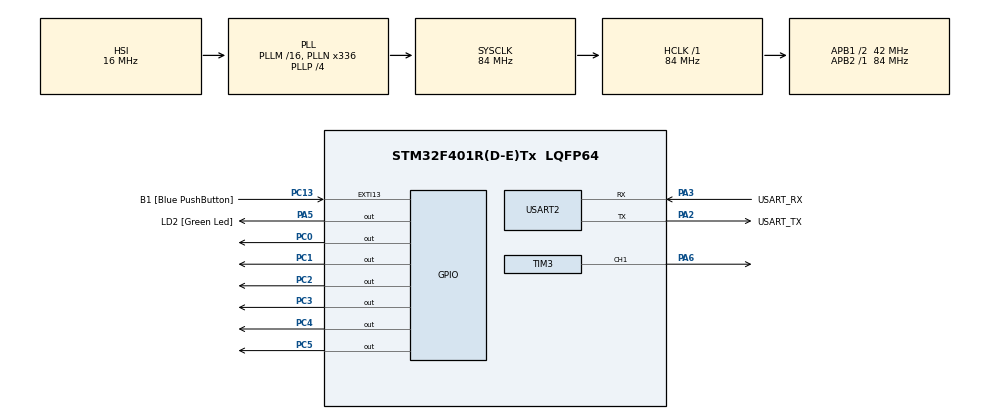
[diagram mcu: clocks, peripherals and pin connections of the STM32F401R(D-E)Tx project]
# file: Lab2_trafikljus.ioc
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Mcu.Family=STM32F4
Mcu.Name=STM32F401R(D-E)Tx
Mcu.Package=LQFP64
NVIC.EXTI15_10_IRQn=true\:0\:0\:false\:false\:true\:true\:true\:true
NVIC.PriorityGroup=NVIC_PRIORITYGROUP_0
PA13.GPIO_Label=TMS
PA13.Mode=Serial_Wire
PA13.Signal=SYS_JTMS-SWDIO
PA14.GPIO_Label=TCK
PA14.Mode=Serial_Wire
PA14.Signal=SYS_JTCK-SWCLK
PA2.GPIO_Label=USART_TX
PA2.GPIO_Mode=GPIO_MODE_AF_PP
PA2.GPIO_PuPd=GPIO_NOPULL
PA2.GPIO_Speed=GPIO_SPEED_FREQ_LOW
PA2.Mode=Asynchronous
PA2.Signal=USART2_TX
PA3.GPIO_Label=USART_RX
PA3.GPIO_Mode=GPIO_MODE_AF_PP
PA3.GPIO_PuPd=GPIO_NOPULL
PA3.GPIO_Speed=GPIO_SPEED_FREQ_LOW
PA3.Mode=Asynchronous
PA3.Signal=USART2_RX
PA5.GPIO_Label=LD2 [Green Led]
PA5.GPIO_Mode=GPIO_MODE_OUTPUT_PP
PA5.GPIO_PuPd=GPIO_NOPULL
PA5.GPIO_Speed=GPIO_SPEED_FREQ_LOW
PA5.Signal=GPIO_Output
PA6.Signal=S_TIM3_CH1
PB3.GPIO_Label=SWO
PB3.Signal=SYS_JTDO-SWO
PC0.Signal=GPIO_Output
PC1.Signal=GPIO_Output
PC13-ANTI_TAMP.GPIO_Label=B1 [Blue PushButton]
PC13-ANTI_TAMP.GPIO_ModeDefaultEXTI=GPIO_MODE_IT_FALLING
PC13-ANTI_TAMP.GPIO_PuPd=GPIO_NOPULL
PC13-ANTI_TAMP.Signal=GPXTI13
PC14-OSC32_IN.Mode=LSE-External-Oscillator
PC14-OSC32_IN.Signal=RCC_OSC32_IN
PC15-OSC32_OUT.Mode=LSE-External-Oscillator
PC15-OSC32_OUT.Signal=RCC_OSC32_OUT
PC2.Signal=GPIO_Output
PC3.Signal=GPIO_Output
PC4.Signal=GPIO_Output
PC5.Signal=GPIO_Output
PH0\ -\ OSC_IN.Mode=HSE-External-Clock-Source
PH0\ -\ OSC_IN.Signal=RCC_OSC_IN
PH1\ -\ OSC_OUT.Mode=HSE-External-Clock-Source
PH1\ -\ OSC_OUT.Signal=RCC_OSC_OUT
ProjectManager.HeapSize=0x200
ProjectManager.StackSize=0x400
ProjectManager.TargetToolchain=STM32CubeIDE
RCC.48MHZClocksFreq_Value=48000000
RCC.AHBFreq_Value=84000000
RCC.APB1CLKDivider=RCC_HCLK_DIV2
RCC.APB1Freq_Value=42000000
RCC.APB1TimFreq_Value=84000000
RCC.APB2Freq_Value=84000000
RCC.APB2TimFreq_Value=84000000
RCC.CortexFreq_Value=84000000
RCC.HCLKFreq_Value=84000000
RCC.HSE_VALUE=8000000
RCC.HSI_VALUE=16000000
RCC.PLLN=336
RCC.PLLP=RCC_PLLP_DIV4
RCC.PLLQ=7
RCC.SYSCLKFreq_VALUE=84000000
RCC.SYSCLKSource=RCC_SYSCLKSOURCE_PLLCLK
RCC.VCOOutputFreq_Value=336000000
SH.S_TIM3_CH1.0=TIM3_CH1,PWM Generation1 CH1
TIM3.Channel-PWM\ Generation1\ CH1=TIM_CHANNEL_1
USART2.VirtualMode=VM_ASYNC
VP_TIM3_VS_ClockSourceINT.Mode=Internal
board=NUCLEO-F401RE

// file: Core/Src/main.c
/* USER CODE BEGIN Header */
/**
  ******************************************************************************
  * @file           : main.c
  * @brief          : Main program body
  ******************************************************************************
  * @attention
  *
  * Copyright (c) 2024 STMicroelectronics.
  * All rights reserved.
  *
  * This software is licensed under terms that can be found in the LICENSE file
  * in the root directory of this software component.
  * If no LICENSE file comes with this software, it is provided AS-IS.
  *
  ******************************************************************************
  */
/* USER CODE END Header */
#include "main.h"

/* USER CODE BEGIN PTD */

void my_systick_handler(void);

enum state {
    s_init,                // Initial state
    s_car_go,              // Cars go (green light for cars)
    s_pushed_wait,         // Wait after pedestrian button pressed
    s_cars_stopping,       // Cars slowing down (yellow light for cars)
    s_ped_go,              // Pedestrians go (green light for pedestrians)
    s_ped_warning,         // Pedestrian warning (about to switch)
    s_all_red,             // All red (safe state)
    s_cars_starting        // Cars preparing to start (yellow light)
};

enum event {
    ev_none = 0,           // No event
	ev_error = -99,
    ev_button_push,        // Button pressed event
    ev_state_timeout       // Timeout event
};

#define EVQ_SIZE 10
enum event evq[ EVQ_SIZE ];
int evq_count = 0;
int evq_front_ix = 0;
int evq_rear_ix = 0;

/* USER CODE END PTD */

TIM_HandleTypeDef htim3;

UART_HandleTypeDef huart2;

void SystemClock_Config(void);
static void MX_GPIO_Init(void);
static void MX_USART2_UART_Init(void);
static void MX_TIM3_Init(void);

/* USER CODE BEGIN 0 */
int systick_count = 0;
uint32_t ticks_left_in_state = 0;  // Declare this globally

void evq_push_back(enum event e)
{
// if queue is full, ignore e
if ( evq_count < EVQ_SIZE )
{
evq[evq_rear_ix] = e;
evq_rear_ix++;
evq_rear_ix %= EVQ_SIZE;
evq_count++;
}
}
enum event evq_pop_front()
{
enum event e = ev_none;
if ( evq_count > 0 )
{
e = evq[evq_front_ix];
evq[evq_front_ix] = ev_error; // detect stupidity
evq_front_ix++;
evq_front_ix %= EVQ_SIZE;
evq_count--;
}
return e;
}

void evq_init(void) {
    for (int i = 0; i < EVQ_SIZE; i++) {
        evq[i] = ev_error; // Set all entries to ev_error
    }
    evq_count = 0;            // Queue is initially empty
    evq_front_ix = 0;         // Start of the queue
    evq_rear_ix = 0;          // End of the queue
}

void my_systick_handler(void)
{
    systick_count++;

    // Decrease ticks_left_in_state and check if it reaches 0
    if (ticks_left_in_state > 0) {
        ticks_left_in_state--;
    }
    if (systick_count == 1000)
        {
            HAL_GPIO_TogglePin(LD2_GPIO_Port, LD2_Pin);
            systick_count = 0;
        }

        // Push timeout event if ticks_left_in_state reaches 0
        if (ticks_left_in_state == 0) {
            evq_push_back(ev_state_timeout);
        }
    }

void HAL_GPIO_EXTI_Callback( uint16_t GPIO_Pin )
{
	if (GPIO_Pin == GPIO_PIN_13)
	{
        evq_push_back(ev_button_push);

	}

}

int is_button_pressed()
{
    // Kontrollera status för pinne 13 på GPIOC (PC13)
    if (GPIOC->IDR & (1 << 13))
    {
        return 0; // Knappen är nedtryckt (bit är satt)
    }
    else
    {
        return 1; // Knappen är inte nedtryckt (bit är ej satt)
    }
}

void push_button_light_on(void) {
	HAL_GPIO_WritePin(GPIOC, GPIO_PIN_5, GPIO_PIN_SET);  // Tänd lysdioden
}

void push_button_light_off(void) {
	HAL_GPIO_WritePin(GPIOC, GPIO_PIN_5, GPIO_PIN_RESET); // Släck lysdioden
}

void set_car_lights(int red, int yellow, int green) {
	HAL_GPIO_WritePin(GPIOC, GPIO_PIN_0, red ? GPIO_PIN_SET : GPIO_PIN_RESET); // Red light
	HAL_GPIO_WritePin(GPIOC, GPIO_PIN_1,
			yellow ? GPIO_PIN_SET : GPIO_PIN_RESET); // Yellow light
	HAL_GPIO_WritePin(GPIOC, GPIO_PIN_2, green ? GPIO_PIN_SET : GPIO_PIN_RESET); // Green light
}

void set_pedestrian_lights(int red, int green) {
	HAL_GPIO_WritePin(GPIOC, GPIO_PIN_3, red ? GPIO_PIN_SET : GPIO_PIN_RESET); // Red light
	HAL_GPIO_WritePin(GPIOC, GPIO_PIN_4, green ? GPIO_PIN_SET : GPIO_PIN_RESET); // Green light
}

void set_traffic_lights(enum state s) {
	switch (s) {
	case s_init:
		// All lights on during initialization
		set_car_lights(1, 1, 1);       // Red, yellow, and green for cars
		set_pedestrian_lights(1, 1);   // Red and green for pedestrians
		break;

	case s_all_red:
		// All lights red (safety mode)
		set_car_lights(1, 0, 0);       // Red for cars
		set_pedestrian_lights(1, 0);   // Red for pedestrians
		break;

	case s_ped_go:
		// Green light for pedestrians
		set_car_lights(1, 0, 0);       // Red for cars
		set_pedestrian_lights(0, 1);   // Green for pedestrians
		break;

	case s_ped_warning:
		// Warning signal for pedestrians
		set_car_lights(1, 0, 0);       // Red for cars
		set_pedestrian_lights(0, 1);   // Green for pedestrians
		break;

	case s_cars_starting:
		// Preparing for green light for cars
		set_car_lights(0, 1, 0);       // Yellow for cars
		set_pedestrian_lights(1, 0);   // Red for pedestrians
		break;

	case s_car_go:
		// Green light for cars, red for pedestrians
		set_car_lights(0, 0, 1);       // Green for cars
		set_pedestrian_lights(1, 0);   // Red for pedestrians
		break;

	case s_pushed_wait:
		// Wait time after button press
		set_car_lights(0, 0, 1);       // Green for cars
		set_pedestrian_lights(1, 0);   // Red for pedestrians
		break;

	case s_cars_stopping:
		// Yellow light for cars
		set_car_lights(0, 1, 0);       // Yellow for cars
		set_pedestrian_lights(1, 0);   // Red for pedestrians
		break;

	default:
		// Handle undefined states
		set_car_lights(1, 1, 1);       // All lights on as fallback
		set_pedestrian_lights(1, 1);   // All lights on as fallback
		break;
	}
}

/* USER CODE END 0 */

int main(void)
{

  /* MCU Configuration--------------------------------------------------------*/

  /* Reset of all peripherals, Initializes the Flash interface and the Systick. */
  HAL_Init();

  /* Configure the system clock */
  SystemClock_Config();

  /* Initialize all configured peripherals */
  MX_GPIO_Init();
  MX_USART2_UART_Init();
  MX_TIM3_Init();
  /* USER CODE BEGIN 2 */
		push_button_light_off();  // Ensure the LED is off initially

		evq_init();
		enum state st = s_init;    // Initiera state
		enum event ev = ev_none;  // Initiera event

  /* USER CODE END 2 */

  /* Infinite loop */
  /* USER CODE BEGIN WHILE */

		while (1) {
			ev = evq_pop_front(); // Default event

			switch (st) {
			case s_init:
				set_traffic_lights(s_init);
				if (ev == ev_button_push) {
					st = s_all_red; // Övergång till nästa state på knapptryckning
					ticks_left_in_state = 2000; // 2000 ms i nästa tillstånd
				}
				break;

			case s_all_red:
				set_traffic_lights(s_all_red);
				if (ev == ev_state_timeout) {
					st = s_car_go; // Övergång till bilens gröna ljus efter timeout
					ticks_left_in_state = 5000; // 5000 ms för bilar att köra
				}
				break;

			case s_car_go:
				set_traffic_lights(s_car_go);
				if (ev == ev_button_push) {
			        push_button_light_on();
					st = s_pushed_wait;  // Om knappen trycks, vänta
					ticks_left_in_state = 2000;  // Väntetid på 2000 ms
				}
				break;

			case s_pushed_wait:
				set_traffic_lights(s_pushed_wait);
				if (ev == ev_state_timeout) {
					st = s_cars_stopping;  // Bilarna stannar
					ticks_left_in_state = 1000;  // 1000 ms för att stanna
				}
				break;

			case s_cars_stopping:
				set_traffic_lights(s_cars_stopping);
				if (ev == ev_state_timeout) {
					st = s_ped_go;  // Gå för fotgängare
					ticks_left_in_state = 5000;  // 5000 ms för fotgängare
				}
				break;

			case s_ped_go:
				set_traffic_lights(s_ped_go);
		        push_button_light_on();
				if (ev == ev_state_timeout) {
					st = s_ped_warning;  // Fotgängarvarning
					ticks_left_in_state = 2000;  // 2000 ms för varning
				}
				break;

			case s_ped_warning:
				set_traffic_lights(s_ped_warning);
				if (ev == ev_state_timeout) {
					st = s_cars_starting;  // Bilar börjar köra
					ticks_left_in_state = 1000; // 1000 ms för att börja köra
				}
				break;

			case s_cars_starting:
				set_traffic_lights(s_cars_starting);
				if (ev == ev_state_timeout) {
					st = s_car_go;  // Tillbaka till bilarnas gröna ljus
					ticks_left_in_state = 5000;  // 5000 ms för bilkörning
				}
				break;

			default:
				st = s_init;
				break;
			}

		}
    /* USER CODE END WHILE */

}

void SystemClock_Config(void)
{
  RCC_OscInitTypeDef RCC_OscInitStruct = {0};
  RCC_ClkInitTypeDef RCC_ClkInitStruct = {0};

  /** Configure the main internal regulator output voltage
  */
  __HAL_RCC_PWR_CLK_ENABLE();
  __HAL_PWR_VOLTAGESCALING_CONFIG(PWR_REGULATOR_VOLTAGE_SCALE2);

  /** Initializes the RCC Oscillators according to the specified parameters
  * in the RCC_OscInitTypeDef structure.
  */
  RCC_OscInitStruct.OscillatorType = RCC_OSCILLATORTYPE_HSI;
  RCC_OscInitStruct.HSIState = RCC_HSI_ON;
  RCC_OscInitStruct.HSICalibrationValue = RCC_HSICALIBRATION_DEFAULT;
  RCC_OscInitStruct.PLL.PLLState = RCC_PLL_ON;
  RCC_OscInitStruct.PLL.PLLSource = RCC_PLLSOURCE_HSI;
  RCC_OscInitStruct.PLL.PLLM = 16;
  RCC_OscInitStruct.PLL.PLLN = 336;
  RCC_OscInitStruct.PLL.PLLP = RCC_PLLP_DIV4;
  RCC_OscInitStruct.PLL.PLLQ = 7;
  if (HAL_RCC_OscConfig(&RCC_OscInitStruct) != HAL_OK)
  {
    Error_Handler();
  }

  /** Initializes the CPU, AHB and APB buses clocks
  */
  RCC_ClkInitStruct.ClockType = RCC_CLOCKTYPE_HCLK|RCC_CLOCKTYPE_SYSCLK
                              |RCC_CLOCKTYPE_PCLK1|RCC_CLOCKTYPE_PCLK2;
  RCC_ClkInitStruct.SYSCLKSource = RCC_SYSCLKSOURCE_PLLCLK;
  RCC_ClkInitStruct.AHBCLKDivider = RCC_SYSCLK_DIV1;
  RCC_ClkInitStruct.APB1CLKDivider = RCC_HCLK_DIV2;
  RCC_ClkInitStruct.APB2CLKDivider = RCC_HCLK_DIV1;

  if (HAL_RCC_ClockConfig(&RCC_ClkInitStruct, FLASH_LATENCY_2) != HAL_OK)
  {
    Error_Handler();
  }
}

static void MX_TIM3_Init(void)
{

  TIM_ClockConfigTypeDef sClockSourceConfig = {0};
  TIM_MasterConfigTypeDef sMasterConfig = {0};
  TIM_OC_InitTypeDef sConfigOC = {0};

  htim3.Instance = TIM3;
  htim3.Init.Prescaler = 0;
  htim3.Init.CounterMode = TIM_COUNTERMODE_UP;
  htim3.Init.Period = 65535;
  htim3.Init.ClockDivision = TIM_CLOCKDIVISION_DIV1;
  htim3.Init.AutoReloadPreload = TIM_AUTORELOAD_PRELOAD_DISABLE;
  if (HAL_TIM_Base_Init(&htim3) != HAL_OK)
  {
    Error_Handler();
  }
  sClockSourceConfig.ClockSource = TIM_CLOCKSOURCE_INTERNAL;
  if (HAL_TIM_ConfigClockSource(&htim3, &sClockSourceConfig) != HAL_OK)
  {
    Error_Handler();
  }
  if (HAL_TIM_PWM_Init(&htim3) != HAL_OK)
  {
    Error_Handler();
  }
  sMasterConfig.MasterOutputTrigger = TIM_TRGO_RESET;
  sMasterConfig.MasterSlaveMode = TIM_MASTERSLAVEMODE_DISABLE;
  if (HAL_TIMEx_MasterConfigSynchronization(&htim3, &sMasterConfig) != HAL_OK)
  {
    Error_Handler();
  }
  sConfigOC.OCMode = TIM_OCMODE_PWM1;
  sConfigOC.Pulse = 0;
  sConfigOC.OCPolarity = TIM_OCPOLARITY_HIGH;
  sConfigOC.OCFastMode = TIM_OCFAST_DISABLE;
  if (HAL_TIM_PWM_ConfigChannel(&htim3, &sConfigOC, TIM_CHANNEL_1) != HAL_OK)
  {
    Error_Handler();
  }
  /* USER CODE BEGIN TIM3_Init 2 */
  HAL_TIM_PWM_Start(&htim3, TIM_CHANNEL_1);
  /* USER CODE END TIM3_Init 2 */
  HAL_TIM_MspPostInit(&htim3);

}

static void MX_USART2_UART_Init(void)
{

  huart2.Instance = USART2;
  huart2.Init.BaudRate = 115200;
  huart2.Init.WordLength = UART_WORDLENGTH_8B;
  huart2.Init.StopBits = UART_STOPBITS_1;
  huart2.Init.Parity = UART_PARITY_NONE;
  huart2.Init.Mode = UART_MODE_TX_RX;
  huart2.Init.HwFlowCtl = UART_HWCONTROL_NONE;
  huart2.Init.OverSampling = UART_OVERSAMPLING_16;
  if (HAL_UART_Init(&huart2) != HAL_OK)
  {
    Error_Handler();
  }

}

static void MX_GPIO_Init(void)
{
  GPIO_InitTypeDef GPIO_InitStruct = {0};

  /* GPIO Ports Clock Enable */
  __HAL_RCC_GPIOC_CLK_ENABLE();
  __HAL_RCC_GPIOH_CLK_ENABLE();
  __HAL_RCC_GPIOA_CLK_ENABLE();
  __HAL_RCC_GPIOB_CLK_ENABLE();

  /*Configure GPIO pin Output Level */
  HAL_GPIO_WritePin(GPIOC, GPIO_PIN_0|GPIO_PIN_1|GPIO_PIN_2|GPIO_PIN_3
                          |GPIO_PIN_4|GPIO_PIN_5, GPIO_PIN_RESET);

  /*Configure GPIO pin Output Level */
  HAL_GPIO_WritePin(LD2_GPIO_Port, LD2_Pin, GPIO_PIN_RESET);

  /*Configure GPIO pin : B1_Pin */
  GPIO_InitStruct.Pin = B1_Pin;
  GPIO_InitStruct.Mode = GPIO_MODE_IT_FALLING;
  GPIO_InitStruct.Pull = GPIO_NOPULL;
  HAL_GPIO_Init(B1_GPIO_Port, &GPIO_InitStruct);

  /*Configure GPIO pins : PC0 PC1 PC2 PC3
                           PC4 PC5 */
  GPIO_InitStruct.Pin = GPIO_PIN_0|GPIO_PIN_1|GPIO_PIN_2|GPIO_PIN_3
                          |GPIO_PIN_4|GPIO_PIN_5;
  GPIO_InitStruct.Mode = GPIO_MODE_OUTPUT_PP;
  GPIO_InitStruct.Pull = GPIO_NOPULL;
  GPIO_InitStruct.Speed = GPIO_SPEED_FREQ_LOW;
  HAL_GPIO_Init(GPIOC, &GPIO_InitStruct);

  /*Configure GPIO pin : LD2_Pin */
  GPIO_InitStruct.Pin = LD2_Pin;
  GPIO_InitStruct.Mode = GPIO_MODE_OUTPUT_PP;
  GPIO_InitStruct.Pull = GPIO_NOPULL;
  GPIO_InitStruct.Speed = GPIO_SPEED_FREQ_LOW;
  HAL_GPIO_Init(LD2_GPIO_Port, &GPIO_InitStruct);

  /* EXTI interrupt init*/
  HAL_NVIC_SetPriority(EXTI15_10_IRQn, 0, 0);
  HAL_NVIC_EnableIRQ(EXTI15_10_IRQn);

}

void Error_Handler(void)
{
  __disable_irq();
  while (1)
  {
  }
}
